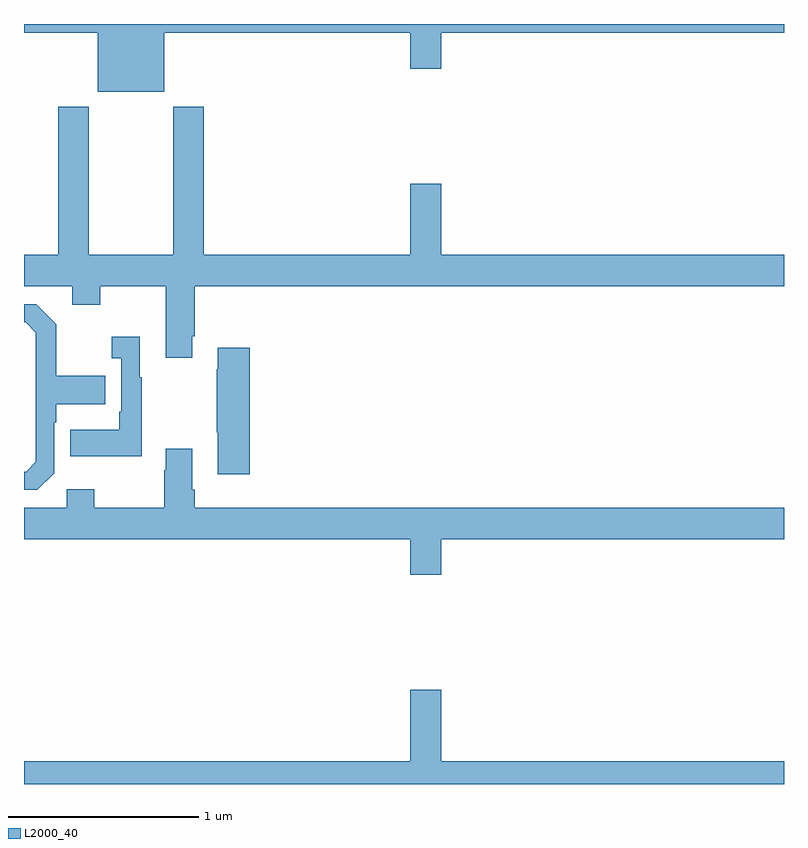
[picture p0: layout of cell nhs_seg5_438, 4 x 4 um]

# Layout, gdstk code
import gdstk
lib = gdstk.Library(unit=1e-6, precision=1e-09)
def P(c, l, *ps):  # polygons
    for p in ps: c.add(gdstk.Polygon(p, *l))
L2000_40 = (2000, 40)

nhs_seg5_438 = lib.new_cell('nhs_seg5_438')
P(nhs_seg5_438, L2000_40, [(139,864.752),(139.388,864.752),(139.388,864.443),(139.738,864.443),(139.738,864.752),(141.032,864.752),(141.032,864.564),(141.196,864.564),(141.196,864.752),(143,864.752),(143,864.799),(139,864.799)],
  [(139.341,864.364),(139.181,864.364),(139.181,863.584),(139,863.584),(139,863.42),(139.253,863.42),(139.253,863.321),(139.401,863.321),(139.401,863.42),(139.745,863.42),(139.745,863.043),(139.885,863.043),(139.885,863.155),(139.898,863.155),(139.898,863.42),(143,863.42),(143,863.584),(141.196,863.584),(141.196,863.959),(141.032,863.959),(141.032,863.584),(139.946,863.584),(139.946,864.364),(139.786,864.364),(139.786,863.584),(139.341,863.584)],
  [(139.158,862.434),(139.158,862.703),(139.171,862.703),(139.171,862.799),(139.427,862.799),(139.427,862.947),(139.171,862.947),(139.171,863.219),(139.065,863.325),(139,863.325),(139,863.229),(139.008,863.229),(139.062,863.175),(139.062,862.494),(139.011,862.443),(139,862.443),(139,862.347),(139.071,862.347)],
  [(139.621,862.939),(139.609,862.939),(139.609,863.152),(139.461,863.152),(139.461,863.039),(139.512,863.039),(139.512,862.759),(139.5,862.759),(139.5,862.663),(139.243,862.663),(139.243,862.523),(139.621,862.523)],
  [(140.189,863.095),(140.021,863.095),(140.021,862.982),(140.014,862.982),(140.014,862.651),(140.021,862.651),(140.021,862.428),(140.189,862.428)],
  [(141.196,862.088),(143,862.088),(143,862.252),(139.898,862.252),(139.898,862.348),(139.885,862.348),(139.885,862.564),(139.745,862.564),(139.745,862.451),(139.738,862.451),(139.738,862.252),(139.371,862.252),(139.371,862.351),(139.224,862.351),(139.224,862.252),(139,862.252),(139,862.088),(141.032,862.088),(141.032,861.9),(141.196,861.9)],
  [(143,860.92),(141.196,860.92),(141.196,861.295),(141.032,861.295),(141.032,860.92),(139,860.92),(139,860.799),(143,860.799)])

lib.write_gds('nhs_seg5_438.gds')
